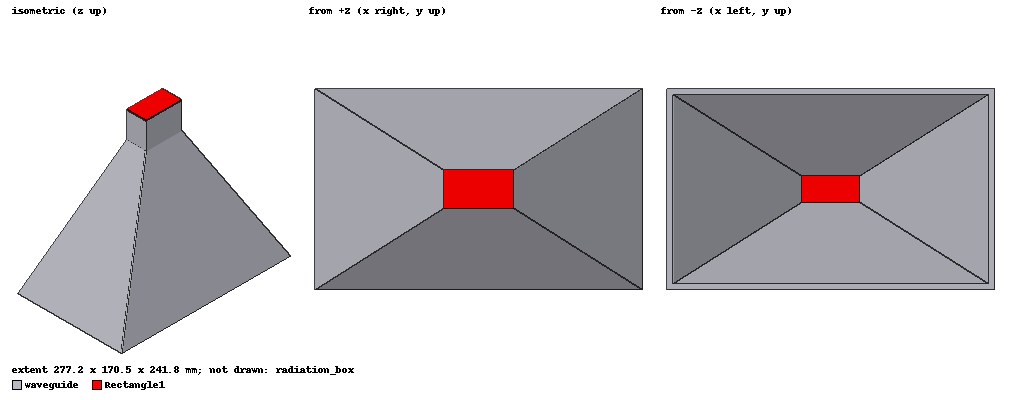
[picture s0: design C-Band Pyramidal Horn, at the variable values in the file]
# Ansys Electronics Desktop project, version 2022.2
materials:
  air: permittivity=1.0006 permeability=1.0000004
  pec: conductivity=1e+30
  vacuum: permittivity=1

design C-Band Pyramidal Horn (HFSS, DrivenModal, model units mm)
notes: Pyramidal Horn Antenna Design with Arbitrary Gain and frequency Band 

you can change three parameters :

*gain_horn_dB (inter gain in _dB unit)
* freq1(inter frequency of antenna in_Hertz)
* ratio_r(inter ratio of aperture dimensions(=B/A))

Designed by : Rezvani
options: Calculate_Lossy_Dielectrics Save_Adaptive_support_files Notes="Pyramidal Horn Antenna Design with Arbitrary Gain and frequency Band / you can change three parameters : / *gain_horn_dB (inter gain in _dB unit) / * freq1(inter frequency of antenna in_Hertz) / * ratio_r(inter ratio of aperture dimensions(=B/A)) / Designed by : Rezvani"
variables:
  freq1 = 4600000000
  c1 = 300000000
  lam0 = c1/freq1
  aw = 0.75*lam0
  bw = 0.45*aw
  lamc = 2*aw
  lamg = lam0/sqrt(1-(lam0/lamc)^2)
  Lw = lamg/2
  ta = 0.08*lam0
  tb = ta
  gain_horn_dB = 18
  gain_horn_linear = 10^(gain_horn_dB/10)
  ratio_r = 0.6
  efficiency_horn = 0.5
  AH = lam0*sqrt(gain_horn_linear/(4*pi*efficiency_horn*ratio_r))
  BH = ratio_r*AH
  Sa = 3/8
  sigma_a = 4*Sa
  Ra = AH^2/(2*lam0*sigma_a^2)
  R_AH = ((AH-aw)/AH)*Ra
  space0 = 2*lam0/4
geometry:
  waveguide [pec] = box(corner=(-0.5*aw-ta, -0.5*bw-tb, R_AH), size=(aw+2*ta, bw+2*tb, Lw))
  waveguide_inner = box(corner=(-0.5*aw, -0.5*bw, R_AH), size=(aw, bw, Lw))
  waveguide.subtract(waveguide_inner)
  Polyline1 = polyline((-0.5*aw-ta, -0.5*bw, R_AH) (-0.5*AH-ta, -0.5*BH, 0) (0.5*AH+ta, -0.5*BH, 0mm) (0.5*aw+ta, -0.5*bw, R_AH) (-0.5*aw-ta, -0.5*bw, R_AH), covered)
  Polyline1.sweep_along_vector((0mm, 0-tb, 0mm))
  Polyline1_1 = Polyline1.duplicate_mirror(point=(0mm, 0mm, 0mm), normal=(0mm, 1mm, 0mm))
  Polyline2 = polyline((-0.5*aw, -0.5*bw, R_AH) (-0.5*AH, -0.5*BH, 0) (-0.5*AH, 0.5*BH, 0mm) (-0.5*aw, 0.5*bw, R_AH) (-0.5*aw, -0.5*bw, R_AH), covered)
  Polyline2.sweep_along_vector((-ta, 0mm, 0mm))
  Polyline2_1 = Polyline2.duplicate_mirror(point=(0mm, 0mm, 0mm), normal=(1mm, 0mm, 0mm))
  Polyline1.unite(Polyline1_1)
  Polyline2.unite(Polyline2_1)
  waveguide.unite(Polyline2, Polyline1)
  Rectangle1 = rectangle(corner=(-0.5*aw-ta, -0.5*bw-tb, R_AH+Lw), x_size=aw+2*ta, y_size=bw+2*tb)
  radiation_box [air] = box(corner=(-0.5*AH-ta-space0, -0.5*BH-tb-space0, R_AH+Lw), size=(AH+2*ta+2*space0, BH+2*ta+2*space0, -(R_AH+Lw)-space0))
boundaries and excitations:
  Rad1: Radiation Faces=radiation_box.face(-z, -y, -x, +y, +x)
  1: Wave Port Objects=Rectangle1 NumModes=1 Modes{Mode1{IntLine{(0, -16.222826, 241.8416) -> (0, 16.222826, 241.8416)} CharImp=Zpi}}
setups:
  Setup1: HfssDriven Frequency=4.6GHz MaxDeltaS=0.02 MaximumPasses=20 MinimumPasses=1 MinimumConvergedPasses=1 PercentRefinement=30 BasisOrder=1 PortAccuracy=2 DrivenSolverType="Direct Solver"
    sweep Sweep: 3.5GHz to 6.5GHz step 0.005GHz; Type=Fast SaveFields
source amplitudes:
  1:1: 1W 0deg
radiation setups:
  Infinite Sphere1: Infinite Sphere Theta=0deg..360deg step 1deg Phi=0deg..360deg step 1deg
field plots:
  Mag_E1: E Field over waveguide.face(all 18) on Setup1 : LastAdaptive at Freq=4.6GHz Phase=0deg
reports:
  Radiation Pattern 1: dB(GainTotal) vs Theta on Setup1 : LastAdaptive, Infinite Sphere1 [Phi=0deg Freq=all]; dB(GainTotal) vs Theta on Setup1 : LastAdaptive, Infinite Sphere1 [Phi=90deg Freq=all]
  XY Plot 1: dB(S(1,1)) vs Freq on Setup1 : Sweep
  3D Polar Plot 1: dB(GainTotal) vs Phi, Theta on Setup1 : LastAdaptive, Infinite Sphere1 [Freq=4.6GHz]
